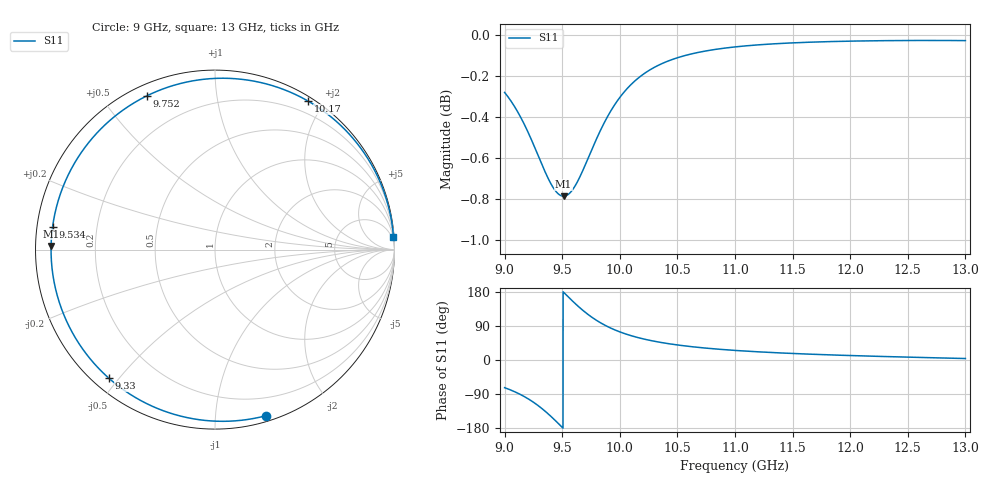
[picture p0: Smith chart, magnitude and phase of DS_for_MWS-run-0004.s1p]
! TOUCHSTONE file generated by CST DESIGN STUDIO
! Date and time: Tue Feb  4 18:19:06 2025
! Project name: C:\Work\MatlabApps\UnitCellOptimizationMatlab\CST\unitcell.cst
! Tree item: Tasks\Sweep1\SPara1\S-Parameters
! Header version: 2024
! Port assignment regex: !\s*Touchstone port\s*([0-9]+)\s*=\s*(CST MWS port|CST DES external port|CST DES block port)\s*(.+)\s* \(\"(.*)\"\)(\s*mode\s*([0-9]+))?.*
! Touchstone port assignment:
! Touchstone port 1 = CST DES external port 1 ("")
# GHz S MA R 50
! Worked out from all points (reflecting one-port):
!   4001 points, 9 GHz to 13 GHz, reference 50 ohm
!   lowest |S11| = -0.8 dB at 9.512 GHz (marker M1), VSWR 22.12, Z = 2.26 + j0.558 ohm
!   phase of S11 starts at -73 deg and turns -283 deg over the sweep
!   S11 on the Smith chart (normalised r, x): 9 GHz: 0.05, -1.35; 9.33 GHz: 0.04, -0.47; 9.534 GHz: 0.05, +0.07; 9.752 GHz: 0.05, +0.65; 10.17 GHz: 0.05, +1.80; 13 GHz: 1, +29
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9  0.9681 -73.0
9.088  0.9603 -83.8
9.191  0.9484 -100.0
9.263  0.9386 -114.1
9.33  0.929 -129.6
9.376  0.9229 -141.6
9.423  0.9178 -154.7
9.462  0.9149 -166.2
9.5  0.9136 -177.6
9.512  0.9135 178.7
9.534  0.9138 172.1
9.588  0.9166 156.0
9.648  0.9228 139.2
9.699  0.9294 126.1
9.752  0.9369 114.0
9.803  0.944 103.6
9.859  0.9511 93.7
10  0.9654 74.2
10.082  0.9714 65.7
10.172  0.9765 58.0
10.321  0.9825 48.3
10.5  0.9871 39.7
10.722  0.9905 32.1
11  0.9931 25.3
11.5  0.9953 17.2
12  0.9963 11.8
12.5  0.9966 7.5
13  0.9966 3.9
